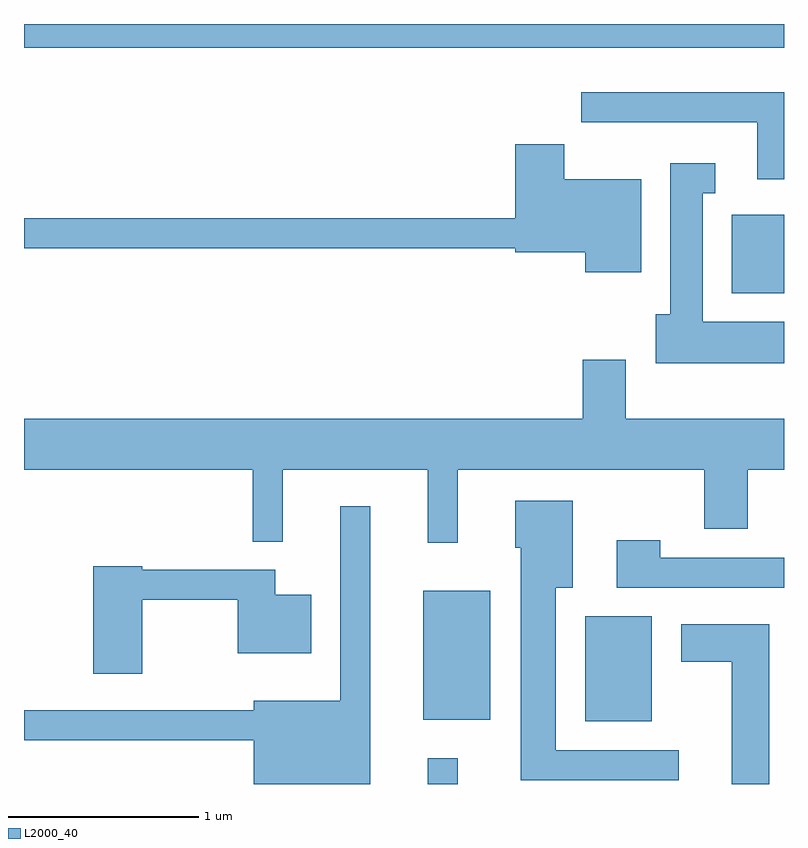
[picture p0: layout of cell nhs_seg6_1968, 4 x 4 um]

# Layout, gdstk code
import gdstk
lib = gdstk.Library(unit=1e-6, precision=1e-09)
def R(c, l, rs):  # rectangles x0, y0, x1, y1
    for r in rs: c.add(gdstk.rectangle(r[:2], r[2:], *l))
def P(c, l, *ps):  # polygons
    for p in ps: c.add(gdstk.Polygon(p, *l))
L2000_40 = (2000, 40)

nhs_seg6_1968 = lib.new_cell('nhs_seg6_1968')
R(nhs_seg6_1968, L2000_40, [(247.736,1546.162,247.894,1546.298), (248.566,1546.491,248.914,1547.044), (247.711,1546.501,248.064,1547.179), (249.336,1548.746,249.611,1549.159), (245.611,1550.036,249.611,1550.162)])
P(nhs_seg6_1968, L2000_40, [(249.611,1549.804),(248.543,1549.804),(248.543,1549.646),(249.471,1549.646),(249.471,1549.346),(249.611,1549.346)],
  [(248.859,1549.344),(248.454,1549.344),(248.454,1549.529),(248.196,1549.529),(248.196,1549.139),(245.611,1549.139),(245.611,1548.981),(248.196,1548.981),(248.196,1548.961),(248.566,1548.961),(248.566,1548.856),(248.859,1548.856)],
  [(249.611,1548.594),(249.184,1548.594),(249.184,1549.271),(249.248,1549.271),(249.248,1549.429),(249.011,1549.429),(249.011,1548.634),(248.936,1548.634),(248.936,1548.376),(249.611,1548.376)],
  [(247.894,1547.816),(249.191,1547.816),(249.191,1547.506),(249.419,1547.506),(249.419,1547.816),(249.611,1547.816),(249.611,1548.084),(248.779,1548.084),(248.779,1548.394),(248.551,1548.394),(248.551,1548.084),(245.611,1548.084),(245.611,1547.816),(246.816,1547.816),(246.816,1547.438),(246.974,1547.438),(246.974,1547.816),(247.736,1547.816),(247.736,1547.433),(247.894,1547.433)],
  [(249.058,1546.339),(248.409,1546.339),(248.409,1547.196),(248.499,1547.196),(248.499,1547.654),(248.196,1547.654),(248.196,1547.406),(248.226,1547.406),(248.226,1546.181),(249.058,1546.181)],
  [(247.434,1547.623),(247.276,1547.623),(247.276,1546.599),(246.821,1546.599),(246.821,1546.549),(245.611,1546.549),(245.611,1546.391),(246.821,1546.391),(246.821,1546.162),(247.434,1546.162)],
  [(249.611,1547.354),(248.959,1547.354),(248.959,1547.444),(248.731,1547.444),(248.731,1547.196),(249.611,1547.196)],
  [(246.234,1547.131),(246.736,1547.131),(246.736,1546.851),(247.124,1546.851),(247.124,1547.159),(246.934,1547.159),(246.934,1547.289),(246.234,1547.289),(246.234,1547.309),(245.976,1547.309),(245.976,1546.741),(246.234,1546.741)],
  [(249.534,1547.004),(249.071,1547.004),(249.071,1546.806),(249.336,1546.806),(249.336,1546.162),(249.534,1546.162)])

lib.write_gds('nhs_seg6_1968.gds')
